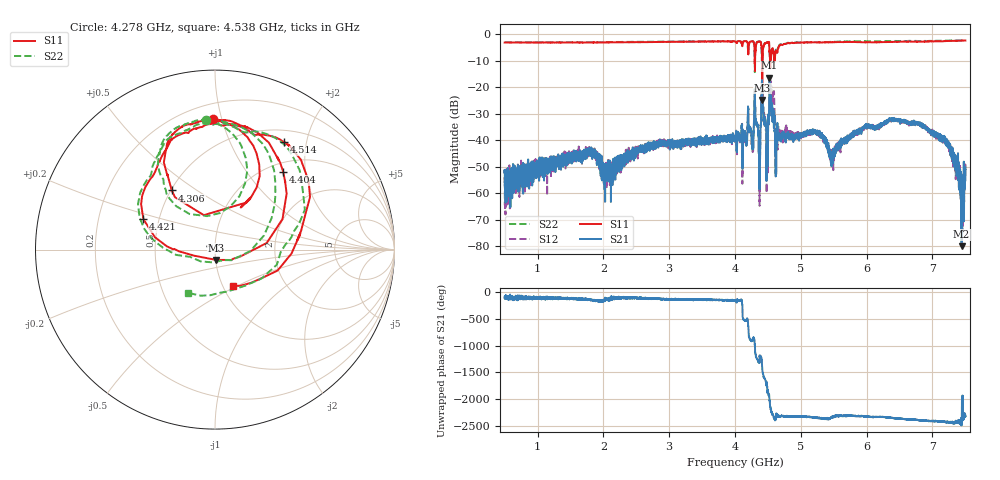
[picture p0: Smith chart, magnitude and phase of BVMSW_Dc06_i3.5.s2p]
!Keysight Technologies,M9374A,MY55442783,A.12.55.05
!Date: Friday, May 21, 2021 09:51:49
!Correction: S11(Full 2 Port(1,2))
!S21(Full 2 Port(1,2))
!S12(Full 2 Port(1,2))
!S22(Full 2 Port(1,2))
!S2P File: Measurements: S11, S21, S12, S22:
# Hz S  RI  R 50
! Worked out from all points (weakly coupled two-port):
!   7001 points, 500 MHz to 7.5 GHz, reference 50 ohm
!   highest |S21| = -16.42 dB at 4.524 GHz (marker M1); lowest = -80.0 dB at 7.443 GHz (marker M2)
!   lowest |S11| = -24.8 dB at 4.414 GHz (marker M3), VSWR 1.12, Z = 50.2 - j5.77 ohm
!   |S11| at or under -10 dB: 4.409757 GHz to 4.419679 GHz (9.921 MHz wide, 0.225 % of centre); 4.53085 GHz to 4.541238 GHz (10.39 MHz wide, 0.229 % of centre); 4.598272 GHz to 4.60071 GHz (2.438 MHz wide, 0.053 % of centre) (the widest 3 of 5)
!   |S22| runs from -22.8 to -2.4 dB; largest |S21 - S12| = 0.11
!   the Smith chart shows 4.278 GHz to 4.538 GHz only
!   S11 on the Smith chart (normalised r, x): 4.278 GHz: 0.30, +0.94; 4.306 GHz: 0.51, +0.40; 4.404 GHz: 1.17, +1.52; 4.421 GHz: 0.41, +0.17; 4.514 GHz: 0.67, +1.63; 4.538 GHz: 1.11, -0.48
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5e8  -0.6843 0.1065  -0.000911 -0.00253  -0.000194 -0.00155  -0.6976 0.0995
1.667e9  -0.6114 0.3295  -0.00495 -0.00353  -0.00264 -0.00398  -0.6287 0.3141
2.111e9  -0.5678 0.406  -0.00198 -0.00125  -0.00149 -0.000965  -0.5948 0.3868
2.834e9  -0.4817 0.5197  -0.00469 -0.00702  -0.006 -0.0064  -0.5122 0.5068
4e9  -0.2218 0.6912  -0.00965 -0.00348  -0.00942 -0.0043  -0.2623 0.6744
4.278e9  -0.0122 0.7278  -0.00612 -0.00504  -0.00546 -0.00473  -0.0522 0.72
4.306e9  -0.2405 0.3296  0.0256 -0.0242  0.043 -0.00754  -0.273 0.3289
4.36e9  -0.0781 0.7155  -0.0064 0.00526  -0.00574 0.00443  -0.1154 0.7138
4.404e9  0.3801 0.4336  -0.0873 -0.00901  -0.0906 -0.000906  0.3356 0.3347
4.414e9  0.00527 -0.0573  0.1039 0.0451  0.1017 0.0528  -0.1393 -0.0406
4.421e9  -0.399 0.1694  0.00997 -0.0396  0.0175 -0.0429  -0.4288 0.2537
4.468e9  -0.1187 0.6731  -0.0122 0.0149  -0.00748 0.0135  -0.1555 0.6668
4.514e9  0.3855 0.5974  -0.0108 -0.024  -0.0107 -0.0165  0.4138 0.5532
4.524e9  0.4586 0.0533  -0.0934 0.1187  -0.1447 0.0492  0.426 0.0697
4.538e9  0.0992 -0.2053  0.0728 0.0177  0.1253 0.0326  -0.1494 -0.2411
4.648e9  -0.3535 0.3289  -0.0088 -0.00405  -0.00344 -0.00738  -0.4028 0.3208
5.167e9  -0.1974 0.6696  -0.0141 -0.00228  -0.0138 -0.00148  -0.268 0.6529
5.479e9  -0.1409 0.6899  -0.00353 -0.00122  -0.00638 -0.000788  -0.2222 0.6792
6.334e9  -0.0143 0.7114  -0.0242 0.000102  -0.0227 -0.000535  -0.0903 0.7348
7.189e9  0.0863 0.7313  -0.00178 0.0101  -0.00215 0.0114  0.031 0.7505
7.443e9  0.1272 0.7415  5.2e-06 9.99e-05  -0.00129 0.000113  0.0628 0.751
7.5e9  0.1374 0.7445  -0.00293 -0.000885  -0.00191 -0.00208  0.0731 0.7498
